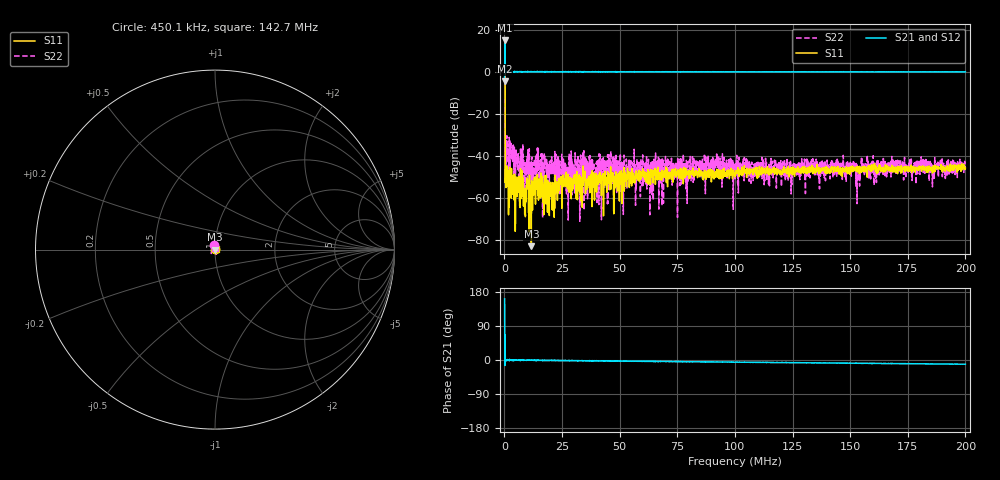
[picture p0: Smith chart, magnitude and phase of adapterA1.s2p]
! 19-Feb-26 2:44:00 PM
! E:\VNA_MEASUREMENTS\RECBLOCK\ADAPTERA1.S2P
! CHANNEL.1
! TR.MEASUREMENT
! CORRECTED.DATA
# GHZ S RI R 50.0
! FREQ.GHZ  S11RE  S11IM  S21RE  S21IM  S12RE  S12IM  S22RE  S22IM
!; PortSelection: Port_12
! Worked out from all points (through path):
!   2000 points, 50 kHz to 200 MHz, reference 50 ohm
!   highest |S21| = 14.89 dB at 250 kHz (marker M1); lowest = -4.5 dB at 50 kHz (marker M2)
!   lowest |S11| = -83.0 dB at 11.65 MHz (marker M3), VSWR 1.00, Z = 50 + j0.00626 ohm
!   |S11| at or under -10 dB: 285.5 kHz to end of sweep
!   |S22| runs from -71.2 to 11.5 dB; largest |S21 - S12| = 8.6
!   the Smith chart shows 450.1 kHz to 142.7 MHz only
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5e-05  -0.5359 0.3049  -0.5648 0.1935  0.7298 -0.3479  -0.3052 -1.184
0.00025005  -1.521 -4.5  2.19 5.099  0.665 -3.395  0.00741 3.76
0.001150275  -0.000378 0.00185  0.9931 0.0141  0.9956 -0.00153  -0.0047 0.0103
0.0016504  -0.000936 -0.00164  1.005 0.00452  1.002 -0.00108  0.00415 0.00404
0.0116529  -3.31e-05 6.26e-05  1.002 -0.0139  1 -0.0132  0.000683 -0.00123
0.01395348  0.00236 -0.000774  0.9991 -0.0323  0.9996 -0.0141  -0.00965 -0.00402
0.016054  0.0009 0.00055  0.9984 -0.0226  0.9994 -0.019  -0.003 0.000435
0.0208552  0.000752 0.000818  0.9939 -0.0167  1.001 -0.021  0.00396 0.00519
0.02615653  0.00181 0.00134  0.9965 -0.0343  0.9985 -0.0266  -0.00344 0.00543
0.03345835  0.00118 0.00259  1.003 -0.0322  0.9987 -0.0336  -0.00101 -0.000339
0.03795948  0.000572 0.000238  0.995 -0.0262  0.9993 -0.0374  0.00532 -0.00478
0.04416103  0.00192 0.00157  0.9966 -0.0449  0.9974 -0.0459  0.00198 0.00326
0.04626156  0.000789 0.00141  1.007 -0.0443  0.9985 -0.0415  -0.00497 0.00248
0.04836208  0.00292 0.00297  0.9906 -0.0564  0.9958 -0.051  0.00824 0.00607
0.06406601  0.00299 0.00241  0.9934 -0.066  0.9979 -0.0643  0.00307 0.00158
0.06676668  0.00133 0.00372  0.9958 -0.0784  0.9963 -0.0669  0.00927 0.000896
0.07896973  0.00302 0.00187  0.9973 -0.0822  0.9907 -0.0802  0.00523 0.0033
0.09247311  0.00416 0.00197  1.001 -0.0871  0.9916 -0.093  0.00835 0.00406
0.100075  0.00254 0.00184  0.9906 -0.1023  0.9908 -0.1002  0.00105 0.00384
0.1333833  0.00422 0.00211  0.9881 -0.1311  0.9873 -0.1294  0.00345 0.00504
0.1666917  0.00379 0.00219  0.9822 -0.1602  0.9787 -0.1602  0.00326 0.00461
0.2  0.00483 0.00169  0.9772 -0.1905  0.9765 -0.1911  0.00349 0.00341
